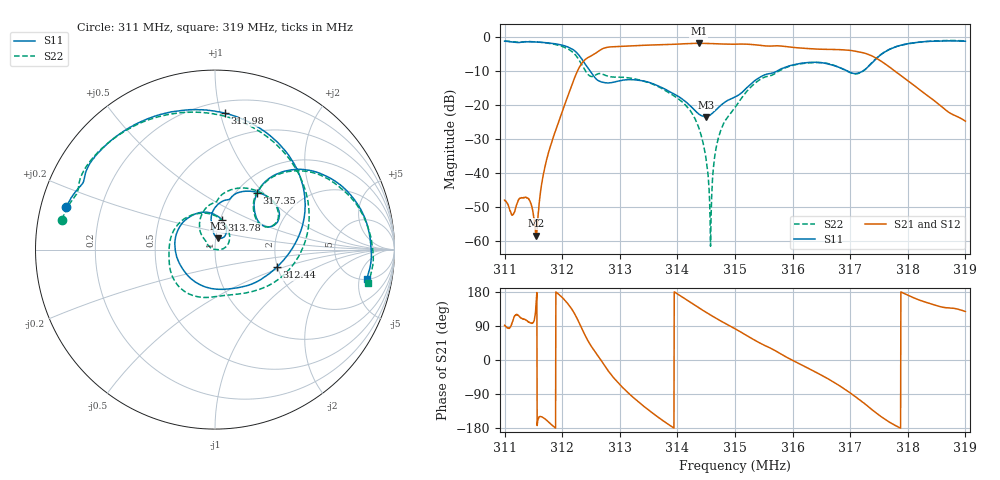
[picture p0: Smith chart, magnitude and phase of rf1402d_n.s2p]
!RF1402D,  DEMO1 ,narrow,BN,8/25/06
# HZ S RI R 50
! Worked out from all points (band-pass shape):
!   1601 points, 311 MHz to 319 MHz, reference 50 ohm
!   highest |S21| = -1.92 dB at 314.37 MHz (marker M1); lowest = -58.5 dB at 311.54 MHz (marker M2)
!   |S21| within 3 dB of the highest: 312.57 MHz to 317.27 MHz (4.7 MHz wide, 1.49 % of centre)
!   lowest |S11| = -23.6 dB at 314.5 MHz (marker M3), VSWR 1.14, Z = 51.3 + j6.6 ohm
!   |S11| at or under -10 dB: 312.48 MHz to 315.74 MHz (3.259 MHz wide, 1.04 % of centre); 316.9442 MHz to 317.2273 MHz (283.1 kHz wide, 0.0893 % of centre)
!   |S22| runs from -61.6 to -1.1 dB; largest |S21 - S12| = 0.0043
!   S11 on the Smith chart (normalised r, x): 311 MHz: 0.08, +0.14; 311.98 MHz: 0.28, +1.03; 312.44 MHz: 1.99, -0.44; 313.78 MHz: 1.02, +0.35; 317.35 MHz: 1.23, +0.91; 319 MHz: 5.00, -6.44
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3.11e8  -0.8286 0.2359  -0.000104 0.00393  -2.5e-05 0.00384  -0.853 0.1675
3.114e8  -0.6792 0.5057  -0.000899 0.0041  -0.000864 0.00416  -0.721 0.4566
3.11545e8  -0.5638 0.6201  -0.000965 0.000691  -0.000927 0.00069  -0.5995 0.591
3.11705e8  -0.3871 0.7236  -0.0116 -0.00519  -0.0115 -0.00513  -0.4038 0.7104
3.11975e8  0.0538 0.7605  -0.0672 0.0134  -0.0671 0.0131  0.1126 0.7251
3.12335e8  0.4706 0.0846  0.0361 0.4001  0.0377 0.3998  0.3635 -0.1575
3.12435e8  0.3449 -0.0974  0.2869 0.3953  0.2875 0.3929  0.1512 -0.2444
3.12725e8  -0.0888 -0.1929  0.665 -0.1476  0.6635 -0.1494  -0.2452 -0.1282
3.13055e8  -0.2204 0.0658  0.2061 -0.6959  0.2048 -0.6956  -0.2341 0.0985
3.1367e8  0.0116 0.1884  -0.6707 -0.3649  -0.6699 -0.3652  0.0104 0.1844
3.13775e8  0.037 0.1674  -0.734 -0.2278  -0.7337 -0.228  0.0423 0.159
3.1437e8  0.0365 0.0635  -0.5956 0.5369  -0.5938 0.5371  0.0457 0.00484
3.14495e8  0.0171 0.064  -0.4709 0.6446  -0.4685 0.6456  0.0164 -0.000229
3.1458e8  0.00433 0.0716  -0.3775 0.6999  -0.3752 0.7006  -0.000856 0.00114
3.1471e8  -0.00708 0.0903  -0.2268 0.7549  -0.224 0.7548  -0.0288 0.014
3.15e8  -0.01 0.1295  0.103 0.7724  0.1033 0.7701  -0.0642 0.0649
3.15745e8  0.101 0.302  0.6906 0.2587  0.6874 0.2587  0.0373 0.3051
3.16335e8  0.3259 0.2679  0.5945 -0.302  0.5963 -0.2987  0.3004 0.289
3.1693e8  0.2944 0.1264  0.1171 -0.6275  0.1185 -0.6281  0.2911 0.1261
3.1735e8  0.2335 0.3137  -0.3265 -0.4247  -0.3244 -0.4255  0.2336 0.3187
3.1767e8  0.4673 0.4476  -0.3493 -0.1077  -0.3481 -0.1099  0.4762 0.4388
3.19e8  0.8451 -0.1664  -0.0352 0.0453  -0.0355 0.0454  0.8527 -0.1887
